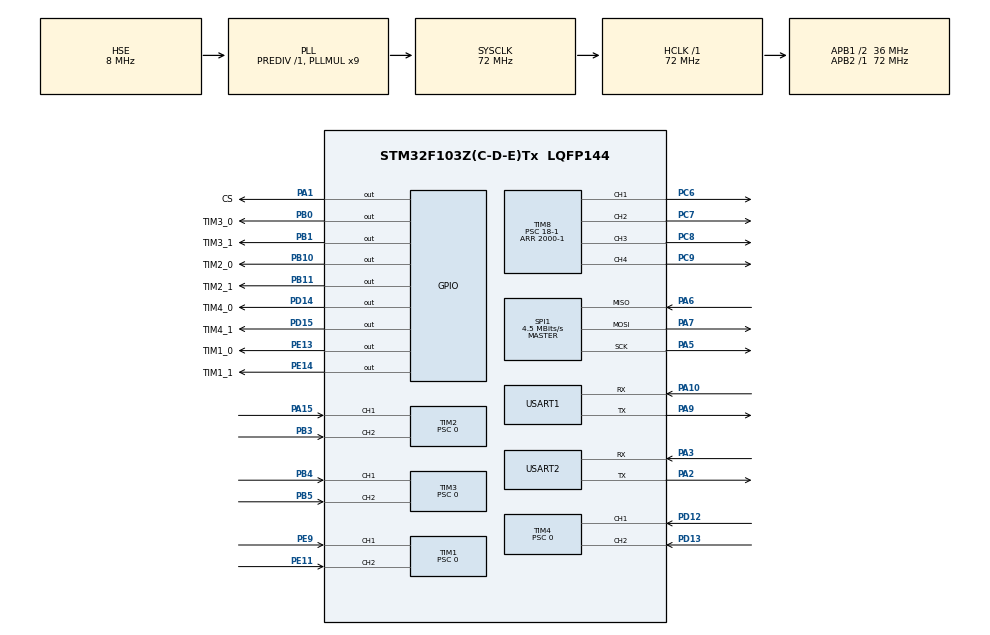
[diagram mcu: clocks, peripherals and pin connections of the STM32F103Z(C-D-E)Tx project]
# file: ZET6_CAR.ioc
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Mcu.Family=STM32F1
Mcu.Name=STM32F103Z(C-D-E)Tx
Mcu.Package=LQFP144
NVIC.PriorityGroup=NVIC_PRIORITYGROUP_4
NVIC.TIM1_BRK_IRQn=true\:0\:0\:false\:false\:true\:true\:true\:true
NVIC.TIM1_UP_IRQn=true\:0\:0\:false\:false\:true\:true\:true\:true
NVIC.TIM2_IRQn=true\:0\:0\:false\:false\:true\:true\:true\:true
NVIC.TIM3_IRQn=true\:0\:0\:false\:false\:true\:true\:true\:true
NVIC.TIM4_IRQn=true\:0\:0\:false\:false\:true\:true\:true\:true
NVIC.TIM5_IRQn=true\:1\:0\:true\:false\:true\:true\:true\:true
NVIC.USART1_IRQn=true\:0\:0\:false\:false\:true\:true\:true\:true
NVIC.USART2_IRQn=true\:0\:0\:false\:false\:true\:true\:true\:true
OSC_IN.Mode=HSE-External-Oscillator
OSC_IN.Signal=RCC_OSC_IN
OSC_OUT.Mode=HSE-External-Oscillator
OSC_OUT.Signal=RCC_OSC_OUT
PA1.GPIO_Label=CS
PA1.Signal=GPIO_Output
PA10.Mode=Asynchronous
PA10.Signal=USART1_RX
PA13.Mode=Serial_Wire
PA13.Signal=SYS_JTMS-SWDIO
PA14.Mode=Serial_Wire
PA14.Signal=SYS_JTCK-SWCLK
PA15.Signal=S_TIM2_CH1_ETR
PA2.Mode=Asynchronous
PA2.Signal=USART2_TX
PA3.Mode=Asynchronous
PA3.Signal=USART2_RX
PA5.Mode=Full_Duplex_Master
PA5.Signal=SPI1_SCK
PA6.Mode=Full_Duplex_Master
PA6.Signal=SPI1_MISO
PA7.Mode=Full_Duplex_Master
PA7.Signal=SPI1_MOSI
PA9.Mode=Asynchronous
PA9.Signal=USART1_TX
PB0.GPIO_Label=TIM3_0
PB0.Signal=GPIO_Output
PB1.GPIO_Label=TIM3_1
PB1.Signal=GPIO_Output
PB10.GPIO_Label=TIM2_0
PB10.Signal=GPIO_Output
PB11.GPIO_Label=TIM2_1
PB11.Signal=GPIO_Output
PB3.Signal=S_TIM2_CH2
PB4.Signal=S_TIM3_CH1
PB5.Signal=S_TIM3_CH2
PC6.Signal=S_TIM8_CH1
PC7.Signal=S_TIM8_CH2
PC8.Signal=S_TIM8_CH3
PC9.Signal=S_TIM8_CH4
PD12.Signal=S_TIM4_CH1
PD13.Signal=S_TIM4_CH2
PD14.GPIO_Label=TIM4_0
PD14.Signal=GPIO_Output
PD15.GPIO_Label=TIM4_1
PD15.Signal=GPIO_Output
PE11.Signal=S_TIM1_CH2
PE13.GPIO_Label=TIM1_0
PE13.Signal=GPIO_Output
PE14.GPIO_Label=TIM1_1
PE14.Signal=GPIO_Output
PE9.Signal=S_TIM1_CH1
ProjectManager.HeapSize=0x200
ProjectManager.StackSize=0x400
ProjectManager.TargetToolchain=MDK-ARM V5.32
RCC.AHBFreq_Value=72000000
RCC.APB1CLKDivider=RCC_HCLK_DIV2
RCC.APB1Freq_Value=36000000
RCC.APB1TimFreq_Value=72000000
RCC.APB2Freq_Value=72000000
RCC.APB2TimFreq_Value=72000000
RCC.HCLKFreq_Value=72000000
RCC.PLLMUL=RCC_PLL_MUL9
RCC.PLLSourceVirtual=RCC_PLLSOURCE_HSE
RCC.SYSCLKFreq_VALUE=72000000
RCC.SYSCLKSource=RCC_SYSCLKSOURCE_PLLCLK
RCC.USBFreq_Value=72000000
SH.S_TIM1_CH1.0=TIM1_CH1,Encoder_Interface
SH.S_TIM1_CH2.0=TIM1_CH2,Encoder_Interface
SH.S_TIM2_CH1_ETR.0=TIM2_CH1,Encoder_Interface
SH.S_TIM2_CH2.0=TIM2_CH2,Encoder_Interface
SH.S_TIM3_CH1.0=TIM3_CH1,Encoder_Interface
SH.S_TIM3_CH2.0=TIM3_CH2,Encoder_Interface
SH.S_TIM4_CH1.0=TIM4_CH1,Encoder_Interface
SH.S_TIM4_CH2.0=TIM4_CH2,Encoder_Interface
SH.S_TIM8_CH1.0=TIM8_CH1,PWM Generation1 CH1
SH.S_TIM8_CH2.0=TIM8_CH2,PWM Generation2 CH2
SH.S_TIM8_CH3.0=TIM8_CH3,PWM Generation3 CH3
SH.S_TIM8_CH4.0=TIM8_CH4,PWM Generation4 CH4
SPI1.BaudRatePrescaler=SPI_BAUDRATEPRESCALER_16
SPI1.CalculateBaudRate=4.5 MBits/s
SPI1.Direction=SPI_DIRECTION_2LINES
SPI1.Mode=SPI_MODE_MASTER
SPI1.VirtualType=VM_MASTER
TIM1.AutoReloadPreload=TIM_AUTORELOAD_PRELOAD_DISABLE
TIM1.EncoderMode=TIM_ENCODERMODE_TI12
TIM1.Period=65535
TIM1.Prescaler=0
TIM2.EncoderMode=TIM_ENCODERMODE_TI12
TIM2.Period=65535
TIM2.Prescaler=0
TIM3.EncoderMode=TIM_ENCODERMODE_TI12
TIM3.Period=65535
TIM3.Prescaler=0
TIM4.EncoderMode=TIM_ENCODERMODE_TI12
TIM4.Period=65535
TIM4.Prescaler=0
TIM5.AutoReloadPreload=TIM_AUTORELOAD_PRELOAD_ENABLE
TIM5.Period=10000-1
TIM5.Prescaler=72-1
TIM8.Channel-PWM\ Generation1\ CH1=TIM_CHANNEL_1
TIM8.Channel-PWM\ Generation2\ CH2=TIM_CHANNEL_2
TIM8.Channel-PWM\ Generation3\ CH3=TIM_CHANNEL_3
TIM8.Channel-PWM\ Generation4\ CH4=TIM_CHANNEL_4
TIM8.Period=2000-1
TIM8.Prescaler=18-1
TIM8.Pulse-PWM\ Generation1\ CH1=1000
TIM8.Pulse-PWM\ Generation2\ CH2=1000
TIM8.Pulse-PWM\ Generation3\ CH3=1000
TIM8.Pulse-PWM\ Generation4\ CH4=1000
USART1.VirtualMode=VM_ASYNC
USART2.VirtualMode=VM_ASYNC
VP_TIM5_VS_ClockSourceINT.Mode=Internal
VP_TIM8_VS_ClockSourceINT.Mode=Internal
board=custom

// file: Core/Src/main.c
/* USER CODE BEGIN Header */
/**
  ******************************************************************************
  * @file           : main.c
  * @brief          : Main program body
  ******************************************************************************
  * @attention
  *
  * Copyright (c) 2025 STMicroelectronics.
  * All rights reserved.
  *
  * This software is licensed under terms that can be found in the LICENSE file
  * in the root directory of this software component.
  * If no LICENSE file comes with this software, it is provided AS-IS.
  *
  ******************************************************************************
  */
/* USER CODE END Header */
#include "main.h"
#include "spi.h"
#include "tim.h"
#include "usart.h"
#include "gpio.h"

/* USER CODE BEGIN Includes */
#include "NRF24L01.h"
#include "encoder.h"
#include "Motor.h"
/* USER CODE END Includes */

/* USER CODE BEGIN PV */
uint8_t RX_data[8]={0x08,0x00,0x00,0x00,0x08,0x00,0x08,0x00};
//int not_exist_flag = 0;
int get_sta=1,i=0;
int turn=0,test=500;
float speed[4]={0},Vx,Vy,Omega;//set_speed[4]={-3.0,3.0,-3.0,3.0}
uint8_t tail[4]={0x00,0x00,0x80,0x7f};
float data[4];
float circle_0_1=836.0;//11*4*19
float circle_2_3=1560.0;//13*4*30
uint16_t get_data[4];
/* USER CODE END PV */

void SystemClock_Config(void);

/* USER CODE BEGIN 0 */
void HAL_UART_RxCpltCallback(UART_HandleTypeDef *huart)
{
    if(huart->Instance == USART2)
    {
        HAL_UART_Receive_IT(&huart2, RX_data, 8);
    }
}
void HAL_TIM_PeriodElapsedCallback(TIM_HandleTypeDef *htim)
{
	if(htim->Instance==TIM5)
	{

			get_data[0] = (RX_data[0]<<8)+RX_data[1];//
			get_data[1] = (RX_data[2]<<8)+RX_data[3];//
			get_data[2] = (RX_data[4]<<8)+RX_data[5];//
			get_data[3] = (RX_data[6]<<8)+RX_data[7];//
      Vx=count_data(get_data[2]);
		  Vy=count_data(get_data[3]);
		  Omega=count_data(get_data[0]);
  		Chassis_Solution(&pid_spd[0],&pid_spd[1],&pid_spd[2],&pid_spd[3],Vx,Vy,Omega);
        pid_spd[0].encoder.get_encoder=Read_Encoder(&htim1);
				pid_spd[1].encoder.get_encoder=Read_Encoder(&htim2);
				pid_spd[2].encoder.get_encoder=Read_Encoder(&htim3);
				pid_spd[3].encoder.get_encoder=Read_Encoder(&htim4);
   			for(i=0;i<4;i++)
			  {
//				   speed[i]=pid_spd[i].encoder.delta_encoder/(0.01*circle);
//   				 speed_control(&pid_spd[i],speed[i],pid_spd[i].control_speed,i);
				  if((i==0)||(i==1))
  				 speed[i]=(pid_spd[i].encoder.get_encoder-35535)/(0.01*circle_0_1);
					else if((i==2)||(i==3))
					 speed[i]=(pid_spd[i].encoder.get_encoder-35535)/(0.01*circle_2_3);
   				 speed_control(&pid_spd[i],speed[i],pid_spd[i].control_speed,i);
			  }
				for(i=0;i<4;i++)
			  {
				 Set_Encoder(i);
				}
    }
}
/* USER CODE END 0 */

int main(void)
{

  /* MCU Configuration--------------------------------------------------------*/

  /* Reset of all peripherals, Initializes the Flash interface and the Systick. */
   HAL_Init();

  /* Configure the system clock */
  SystemClock_Config();

  /* Initialize all configured peripherals */
  MX_GPIO_Init();
  MX_SPI1_Init();
  MX_TIM1_Init();
  MX_TIM2_Init();
  MX_TIM3_Init();
  MX_TIM4_Init();
  MX_TIM8_Init();
  MX_TIM5_Init();
  MX_USART1_UART_Init();
  MX_USART2_UART_Init();
  /* USER CODE BEGIN 2 */
   pid_init();
	 MotorEncoder_Init();
   //NRF24L01_RX_Mode();
	 HAL_UART_Receive_IT(&huart2,RX_data,8);
  /* USER CODE END 2 */
  /* Infinite loop */
  while (1)
  {

    /* USER CODE BEGIN 3 */
//		HAL_UART_Receive(&huart1,RX_data,8*sizeof(uint8_t),100);
//		SetPWM(5000);
//		i=Read_Encoder(&htim1);
  }
  /* USER CODE END 3 */
}

void SystemClock_Config(void)
{
  RCC_OscInitTypeDef RCC_OscInitStruct = {0};
  RCC_ClkInitTypeDef RCC_ClkInitStruct = {0};

  /** Initializes the RCC Oscillators according to the specified parameters
  * in the RCC_OscInitTypeDef structure.
  */
  RCC_OscInitStruct.OscillatorType = RCC_OSCILLATORTYPE_HSE;
  RCC_OscInitStruct.HSEState = RCC_HSE_ON;
  RCC_OscInitStruct.HSEPredivValue = RCC_HSE_PREDIV_DIV1;
  RCC_OscInitStruct.HSIState = RCC_HSI_ON;
  RCC_OscInitStruct.PLL.PLLState = RCC_PLL_ON;
  RCC_OscInitStruct.PLL.PLLSource = RCC_PLLSOURCE_HSE;
  RCC_OscInitStruct.PLL.PLLMUL = RCC_PLL_MUL9;
  if (HAL_RCC_OscConfig(&RCC_OscInitStruct) != HAL_OK)
  {
    Error_Handler();
  }

  /** Initializes the CPU, AHB and APB buses clocks
  */
  RCC_ClkInitStruct.ClockType = RCC_CLOCKTYPE_HCLK|RCC_CLOCKTYPE_SYSCLK
                              |RCC_CLOCKTYPE_PCLK1|RCC_CLOCKTYPE_PCLK2;
  RCC_ClkInitStruct.SYSCLKSource = RCC_SYSCLKSOURCE_PLLCLK;
  RCC_ClkInitStruct.AHBCLKDivider = RCC_SYSCLK_DIV1;
  RCC_ClkInitStruct.APB1CLKDivider = RCC_HCLK_DIV2;
  RCC_ClkInitStruct.APB2CLKDivider = RCC_HCLK_DIV1;

  if (HAL_RCC_ClockConfig(&RCC_ClkInitStruct, FLASH_LATENCY_2) != HAL_OK)
  {
    Error_Handler();
  }
}

void Error_Handler(void)
{
  __disable_irq();
  while (1)
  {
  }
}
